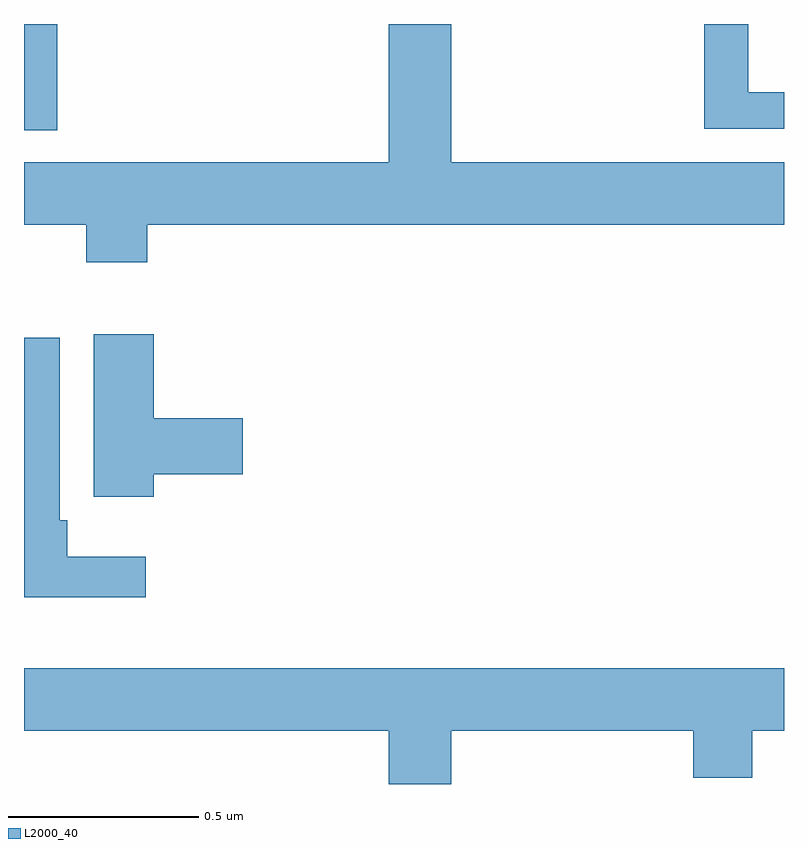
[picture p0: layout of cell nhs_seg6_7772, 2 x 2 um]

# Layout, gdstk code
import gdstk
lib = gdstk.Library(unit=1e-6, precision=1e-09)
def R(c, l, rs):  # rectangles x0, y0, x1, y1
    for r in rs: c.add(gdstk.rectangle(r[:2], r[2:], *l))
def P(c, l, *ps):  # polygons
    for p in ps: c.add(gdstk.Polygon(p, *l))
L2000_40 = (2000, 40)

nhs_seg6_7772 = lib.new_cell('nhs_seg6_7772')
R(nhs_seg6_7772, L2000_40, [(212,978.221,212.087,978.5)])
P(nhs_seg6_7772, L2000_40, [(212.324,977.972),(214,977.972),(214,978.136),(213.124,978.136),(213.124,978.5),(212.96,978.5),(212.96,978.136),(212,978.136),(212,977.972),(212.164,977.972),(212.164,977.873),(212.324,977.873)],
  [(214,978.321),(213.906,978.321),(213.906,978.5),(213.79,978.5),(213.79,978.225),(214,978.225)],
  [(212.342,977.315),(212.575,977.315),(212.575,977.462),(212.342,977.462),(212.342,977.683),(212.183,977.683),(212.183,977.256),(212.342,977.256)],
  [(212.32,977.098),(212.114,977.098),(212.114,977.194),(212.094,977.194),(212.094,977.674),(212,977.674),(212,976.991),(212.32,976.991)],
  [(213.124,976.64),(213.761,976.64),(213.761,976.516),(213.917,976.516),(213.917,976.64),(214,976.64),(214,976.804),(212,976.804),(212,976.64),(212.96,976.64),(212.96,976.5),(213.124,976.5)])

lib.write_gds('nhs_seg6_7772.gds')
